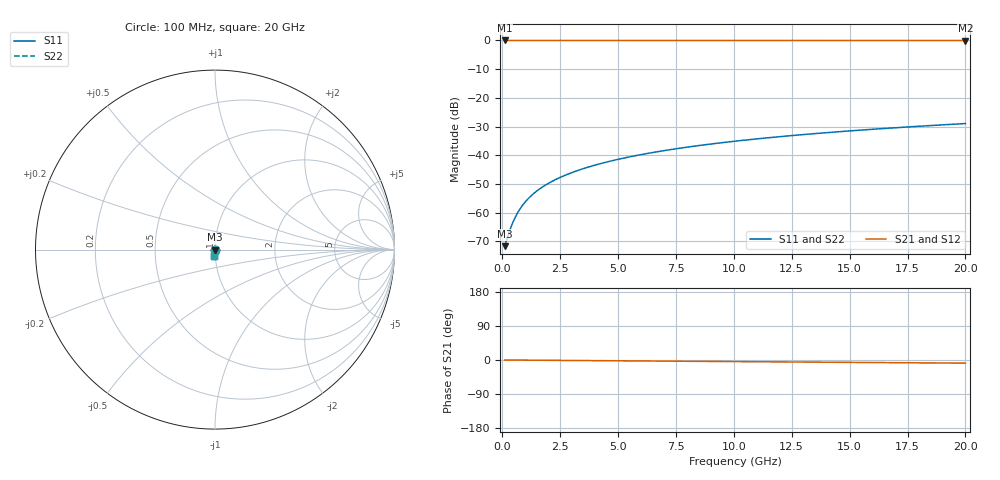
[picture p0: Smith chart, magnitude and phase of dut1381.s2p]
! Touchstone file exported from HFSS 2026.1.0
!  File:  C:/ffzhzh/LocalFiles/Ansys_Project_Files/temp_train_TSV_1381_1783196451_51560.aedt
!  Generated:  04:22:14 AM Jul  5, 2026
!  Design:  TSV
!  Project:  temp_train_TSV_1381_1783196451_51560
! Variables:
!  h_bsmrdl = 2um
!  h_ox = 20um
!  h_rdl = 5um
!  h_sub = 87.01um
!  h_tmrdl = 5um
!  h_tsv = 87.01um
!  h_via = 3um
!  l_bsmrdl = 300um
!  l_sub = 414.72um
!  l_tmrdl = 200um
!  m_sub = 200um
!  pitch = 23.69um
!  r_tsv = 7.36um
!  s_tmrdl = 10um
!  w_bsmrdl = 18um
!  w_sub = 500um
!  w_tmrdl = 12um
!  x_tsv_center1 = 206um
!  x_tsv_center2 = 524um
!  x_tsv_center3 = 736um
!  x_tsv_center4 = 1054um
!  x_tsv_center5 = 1266um
!  x_tsv_center6 = 1584um
# GHz S MA R 50.000000
! Terminal data exported
! Port[1] = TSV1_1_T1
! Port[2] = TSV1_1_T2
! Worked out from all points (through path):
!   200 points, 100 MHz to 20 GHz, reference 50 ohm
!   highest |S21| = 0.00 dB at 100 MHz (marker M1); lowest = 0.0 dB at 20 GHz (marker M2)
!   group delay of S21, straight-line fit = 1.15 ps
!   lowest |S11| = -71.7 dB at 100 MHz (marker M3), VSWR 1.00, Z = 50 - j0.0115 ohm
!   |S11| at or under -10 dB: start of sweep to end of sweep
!   |S22| runs from -71.7 to -29.0 dB; largest |S21 - S12| = 2e-15
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0.1  0.0002596 -26.4  0.9998 -0.0  0.9998 -0.0  0.0002596 -26.4
! Gamma 0 0 0 0
! Port Impedance 50 0 50 0
0.3  0.0004599 -52.6  0.9997 -0.1  0.9997 -0.1  0.0004599 -52.6
0.4  0.000593 -58.3  0.9997 -0.2  0.9997 -0.2  0.000593 -58.3
0.5  0.0007383 -62.2  0.9997 -0.2  0.9997 -0.2  0.0007383 -62.2
0.6  0.000892 -65.0  0.9996 -0.3  0.9996 -0.3  0.000892 -65.0
0.7  0.001051 -67.3  0.9996 -0.3  0.9996 -0.3  0.001051 -67.3
0.9  0.00138 -70.8  0.9995 -0.4  0.9995 -0.4  0.00138 -70.8
1.2  0.001885 -74.4  0.9995 -0.5  0.9995 -0.5  0.001885 -74.4
1.4  0.002225 -76.2  0.9994 -0.6  0.9994 -0.6  0.002225 -76.2
1.6  0.002565 -77.6  0.9994 -0.7  0.9994 -0.7  0.002565 -77.6
2.1  0.003418 -80.0  0.9993 -0.9  0.9993 -0.9  0.003418 -80.0
2.7  0.004448 -81.9  0.9993 -1.1  0.9993 -1.1  0.004448 -81.9
3.5  0.005834 -83.5  0.9992 -1.5  0.9992 -1.5  0.005834 -83.5
4.2  0.007059 -84.6  0.9991 -1.8  0.9991 -1.8  0.007059 -84.6
5  0.008472 -85.5  0.999 -2.1  0.999 -2.1  0.008472 -85.5
5.9  0.01007 -86.4  0.9989 -2.5  0.9989 -2.5  0.01007 -86.4
6.8  0.01169 -87.2  0.9988 -2.9  0.9988 -2.9  0.01169 -87.2
8.3  0.01439 -88.4  0.9986 -3.5  0.9986 -3.5  0.01439 -88.4
10.1  0.01764 -89.7  0.9984 -4.2  0.9984 -4.2  0.01764 -89.7
13.4  0.02361 -91.7  0.9981 -5.6  0.9981 -5.6  0.02361 -91.7
16.7  0.0296 -93.5  0.9978 -6.9  0.9978 -6.9  0.0296 -93.5
20  0.0356 -95.1  0.9974 -8.3  0.9974 -8.3  0.0356 -95.1
